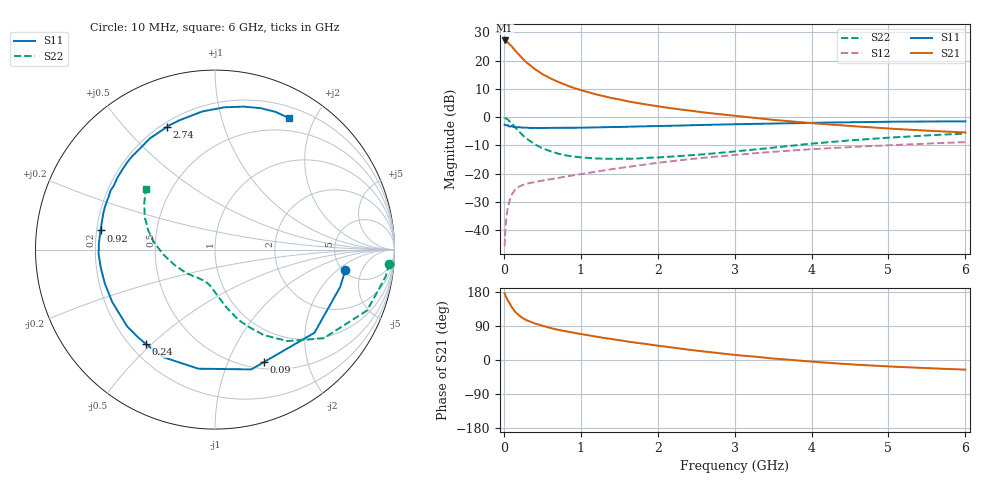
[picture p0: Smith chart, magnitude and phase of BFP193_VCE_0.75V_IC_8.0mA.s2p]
! Infineon Technologies  Discrete & RF Semiconductors
! BFP193
! VCE = 0.75V,  IC =  8.0 mA
! Common Emitter S-Parameters:  Jan 2016
# GHz  S  MA  R  50
!  f  S11  S21  S12  S22
! GHz  MAG  ANG  MAG  ANG  MAG  ANG  MAG  ANG
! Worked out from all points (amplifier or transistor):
!   210 points, 10 MHz to 6 GHz, reference 50 ohm
!   highest |S21| = 27.1 dB at 10 MHz (marker M1)
!   |S21| within 3 dB of that: start of sweep to 129.8 MHz
!   unconditionally stable (mu >= 1): 988.6 MHz to 4.336 GHz
!   at 185 MHz: K = 0.29, MSG = 23.6 dB, |S12| = -24.9 dB
!   at 1.52 GHz: K = 1.12, MAG = 9.9 dB, |S12| = -18.0 dB
!   at 6 GHz: K = 0.98, MSG = 1.7 dB, |S12| = -8.9 dB
!   S11 on the Smith chart (normalised r, x): 10 MHz: 5.28, -2.56; 90 MHz: 0.58, -1.36; 240 MHz: 0.26, -0.48; 920 MHz: 0.22, +0.08; 2.74 GHz: 0.22, +0.66; 6 GHz: 0.33, +1.66
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0.01  0.7353 -8.7  22.67 176.2  0.0052 87.9  0.9738 -4.6
0.02  0.7281 -16.5  22.21 170.4  0.0101 81.7  0.9628 -9.0
0.05  0.7223 -39.9  21.05 157.7  0.0244 71.0  0.9128 -21.8
0.09  0.6835 -66.5  18.48 144.0  0.0384 59.2  0.8012 -35.3
0.1  0.6975 -73.1  18.03 140.0  0.042 57.5  0.7814 -39.2
0.15  0.67 -97.9  14.9 126.3  0.0526 47.7  0.6505 -51.6
0.2  0.6651 -115.6  12.53 117.0  0.0592 42.7  0.5494 -60.2
0.24  0.6519 -126.2  10.93 111.4  0.0624 39.3  0.4846 -65.1
0.26  0.6501 -130.9  10.25 108.8  0.0638 38.3  0.4574 -67.4
0.3  0.65 -139.0  9.117 104.4  0.0662 37.3  0.4123 -71.6
0.4  0.6429 -153.2  7.114 96.6  0.0711 35.2  0.3305 -78.6
0.5  0.6422 -163.0  5.764 90.3  0.0752 34.7  0.281 -83.7
0.7  0.6488 -177.8  4.225 79.9  0.0834 36.7  0.2262 -92.0
0.92  0.6467 170.5  3.243 71.4  0.0942 38.6  0.1988 -99.1
1.02  0.6495 165.9  2.943 67.7  0.0989 39.5  0.1927 -101.9
1.4  0.6681 150.8  2.174 55.4  0.1192 41.2  0.1834 -113.2
2.02  0.6956 131.0  1.537 37.4  0.1562 40.4  0.1933 -131.8
2.74  0.7338 111.4  1.151 19.4  0.1989 36.0  0.2283 -153.9
3.1  0.7503 103.3  1.018 11.7  0.2198 32.7  0.2538 -164.4
4.1  0.7969 84.8  0.763 -5.8  0.2752 23.0  0.3477 171.8
5.1  0.8291 71.0  0.616 -17.9  0.3217 12.5  0.4394 153.2
6  0.8403 60.8  0.535 -25.4  0.36 2.8  0.5118 138.7
